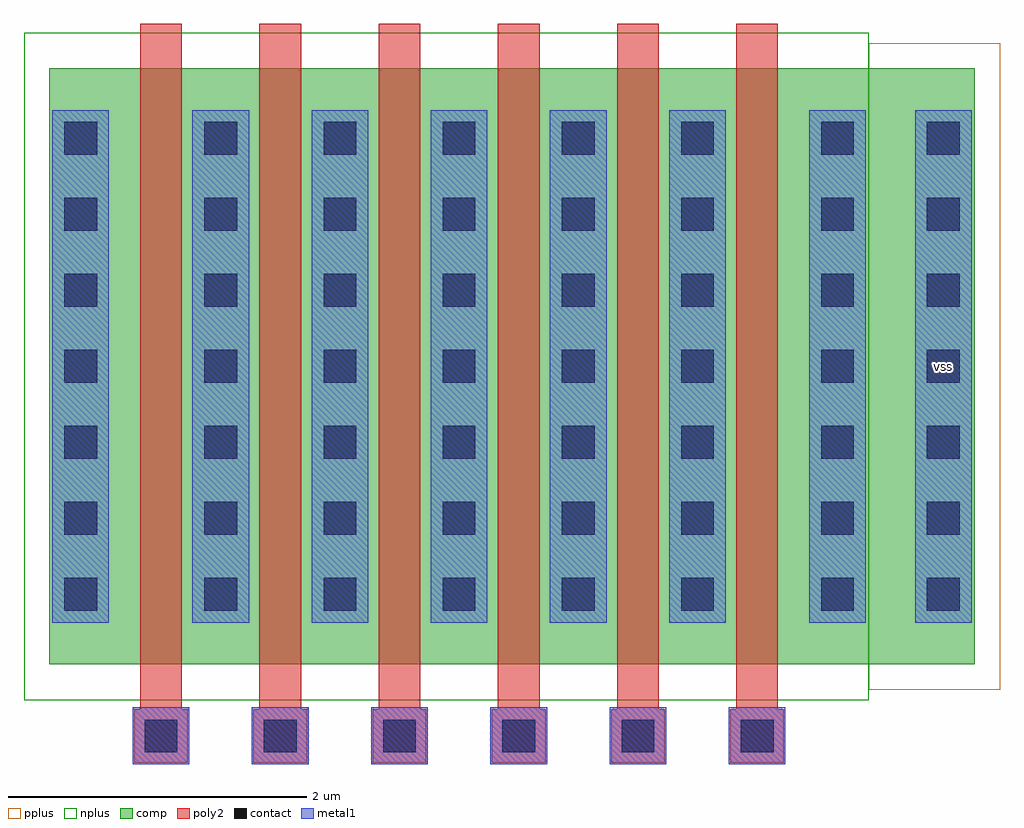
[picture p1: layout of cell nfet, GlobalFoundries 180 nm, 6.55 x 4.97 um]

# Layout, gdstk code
import gdstk
lib = gdstk.Library(unit=1e-6, precision=1e-09)
def R(c, l, rs):  # rectangles x0, y0, x1, y1
    for r in rs: c.add(gdstk.rectangle(r[:2], r[2:], *l))
def A(c, l, x, y, w, h, nx, ny, dx, dy):  # array of equal rectangles
    R(c, l, [(x+i*dx, y+j*dy, x+i*dx+w, y+j*dy+h) for i in range(nx) for j in range(ny)])
comp = (22, 0)
poly2 = (30, 0)
pplus = (31, 0)
nplus = (32, 0)
contact = (33, 0)
metal1 = (34, 0)

nfet = lib.new_cell('nfet')
R(nfet, comp, [(-0.42,0,0,4), (0,0,4.66,4), (4.66,0,5.08,4), (5.08,0,5.79,4)])
A(nfet, poly2, 0.15, -0.66, 0.36, 0.36, 6, 1, 0.8, 0)
A(nfet, poly2, 0.19, -0.3, 0.28, 4.6, 6, 1, 0.8, 0)
R(nfet, pplus, [(5.08,-0.17,5.96,4.17)])
R(nfet, nplus, [(-0.59,-0.24,5.08,4.24)])
A(nfet, contact, 0.22, -0.59, 0.22, 0.22, 6, 1, 0.8, 0)
A(nfet, contact, -0.32, 0.36, 0.22, 0.22, 1, 7, 0, 0.51)
A(nfet, contact, 0.62, 0.36, 0.22, 0.22, 5, 7, 0.8, 0.51)
A(nfet, contact, 4.76, 0.36, 0.22, 0.22, 1, 7, 0, 0.51)
A(nfet, contact, 5.47, 0.36, 0.22, 0.22, 1, 7, 0, 0.51)
A(nfet, metal1, 0.14, -0.671, 0.38, 0.382, 6, 1, 0.8, 0)
A(nfet, metal1, 0.54, 0.28, 0.38, 3.44, 5, 1, 0.8, 0)
R(nfet, metal1, [(-0.4,0.28,-0.02,3.72), (4.68,0.28,5.06,3.72), (5.39,0.28,5.77,3.72)])
nfet.add(gdstk.Label('vss', (5.58,2), layer=34, texttype=10))

lib.write_gds('nfet.gds')
